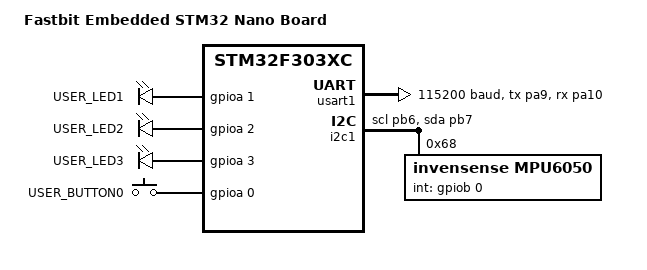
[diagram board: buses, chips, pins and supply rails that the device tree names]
/dts-v1/;                           // Mandatory version marker for dtc

/* Include files */
// #include <CPU.dtsi>                 // If required : CPU core definitions 
									// (e.g. arm/armv7-m.dtsi)
#include <st/f3/stm32f303Xc.dtsi>   // Mandatory: SoC definitions
//pinctrl definition file specific to your MCU variant
//modules/hal/stm32/----
#include <st/f3/stm32f303c(b-c)tx-pinctrl.dtsi> 
//#include <optional-bindings.h>      // Optional: constants (GPIO flags, clocks, interrupts, etc.)

// /memreserve/ <base> <size>;         // Optional: memory reservation(s)

/ {                                 // Root node (mandatory)
    
	model = "Fastbit Embedded STM32 Nano Board";           // Optional: human-readable description
    compatible = "fastbit,stm32-nano";    // Mandatory: at least one compatible string
   

    /* Optional: global settings */
    chosen {
        zephyr,console = &usart1;
		zephyr,sram = &sram0;
		zephyr,flash = &flash0;
    };

    /* Optional: peripheral/device nodes */

	aliases {
       led0 = &led3;
	   button0 = &button0;
    };
    
	leds {
		compatible = "gpio-leds";
		blink-period-ms = <1000>;
		led1: led_1 {
				gpios = <&gpioa 1 GPIO_ACTIVE_HIGH>; // #gpio-cells = <2> this is there in gpioa
				label  = "USER_LED1";
		};

		led2: led_2 {
				gpios = <&gpioa 2 GPIO_ACTIVE_HIGH>;
				label  = "USER_LED2";
		};

		led3: led_3 {
				gpios = <&gpioa 3 GPIO_ACTIVE_HIGH>;
				label  = "USER_LED3";
		};
	};


	buttons {
		compatible = "gpio-keys";
		button0: user_button {
				gpios = <&gpioa 0 GPIO_ACTIVE_HIGH>; // #gpio-cells = <2> this is there in gpioa
				label  = "USER_BUTTON0";
		};
	};

}; //end of Root node


&rcc {
	ahb-prescaler = <1>;
	clock-frequency = <DT_FREQ_M(8)>; /* = SYSCLK / AHB prescaler */
	apb1-prescaler = <1>;
	apb2-prescaler = <1>;
};

&i2c1_sda_pb7 {
	bias-disable;
};

&i2c1_scl_pb6 {
	bias-disable;
};
	
&usart1 {
	pinctrl-0 = <&usart1_tx_pa9 &usart1_rx_pa10>;
	pinctrl-names = "default";
	status = "okay";
	current-speed = <115200>;
};


&i2c1 {

	pinctrl-0 = <&i2c1_scl_pb6 &i2c1_sda_pb7>;
	pinctrl-names = "default";
	status = "okay";
	
	mpu6050@68 {
		compatible = "invensense,mpu6050";

		int-gpios = <&gpiob 0 GPIO_ACTIVE_HIGH>;

		// *-gpios  ==> a generic phandle-array property name
		// gpio ==> this is the name of the specifier space
		// we can only use & to those provider inside which #SPECIFIER_NAME-cells property is defined
		// in this example, 
		// we can only use & to those provider inside which #gpio-cells property is defined. 

		// In general, 
		// a phandle-array property named 'bars' implicitly uses the specifier space name 'bar'

	
		reg = <0x68>;
	};

};


	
